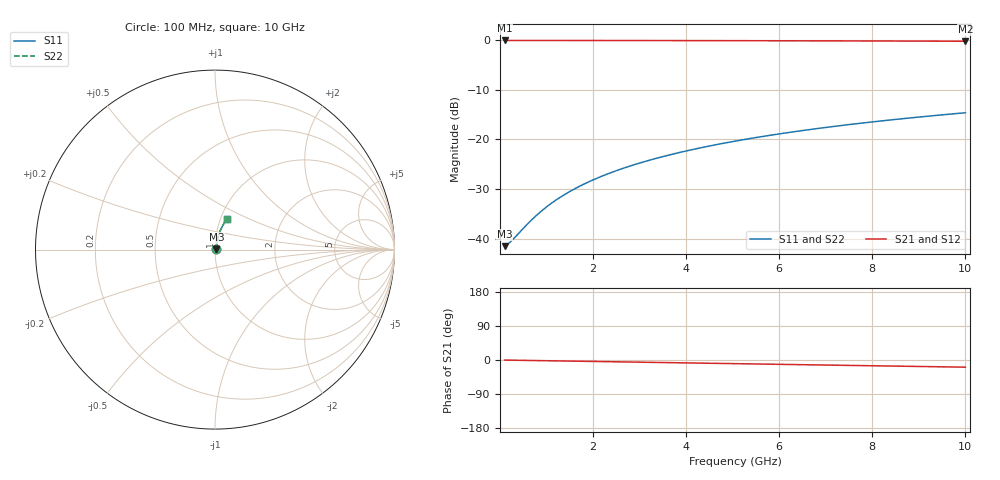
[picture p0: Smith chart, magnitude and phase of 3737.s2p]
# Hz S RI R 50.00
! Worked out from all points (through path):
!   100 points, 100 MHz to 10 GHz, reference 50 ohm
!   highest |S21| = -0.07 dB at 100 MHz (marker M1); lowest = -0.2 dB at 10 GHz (marker M2)
!   group delay of S21, straight-line fit = 5.26 ps
!   lowest |S11| = -41.5 dB at 100 MHz (marker M3), VSWR 1.02, Z = 50.8 + j0.191 ohm
!   |S11| at or under -10 dB: start of sweep to end of sweep
!   |S22| runs from -41.5 to -14.6 dB; largest |S21 - S12| = 0
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1e8  0.00817 0.00188  0.9918 -0.00331  0.9918 -0.00331  0.00817 0.00188
2e8  0.00824 0.00376  0.9917 -0.00662  0.9917 -0.00662  0.00824 0.00376
3e8  0.00831 0.00563  0.9917 -0.00993  0.9917 -0.00993  0.00831 0.00563
6e8  0.00857 0.0113  0.9914 -0.0199  0.9914 -0.0199  0.00857 0.0113
7e8  0.00867 0.0131  0.9913 -0.0232  0.9913 -0.0232  0.00867 0.0131
8e8  0.00878 0.015  0.9911 -0.0265  0.9911 -0.0265  0.00878 0.015
1e9  0.00904 0.0188  0.9908 -0.0331  0.9908 -0.0331  0.00904 0.0188
1.2e9  0.00935 0.0225  0.9905 -0.0397  0.9905 -0.0397  0.00935 0.0225
1.4e9  0.0097 0.0262  0.9901 -0.0463  0.9901 -0.0463  0.0097 0.0262
1.6e9  0.0101 0.03  0.9896 -0.0529  0.9896 -0.0529  0.0101 0.03
1.8e9  0.0105 0.0337  0.9891 -0.0595  0.9891 -0.0595  0.0105 0.0337
2.1e9  0.0113 0.0393  0.9882 -0.0693  0.9882 -0.0693  0.0113 0.0393
2.5e9  0.0125 0.0467  0.9868 -0.0825  0.9868 -0.0825  0.0125 0.0467
2.9e9  0.0139 0.054  0.9852 -0.0956  0.9852 -0.0956  0.0139 0.054
3.4e9  0.0159 0.0632  0.9829 -0.1119  0.9829 -0.1119  0.0159 0.0632
4.2e9  0.0197 0.0776  0.9784 -0.1378  0.9784 -0.1378  0.0197 0.0776
5.1e9  0.0249 0.0935  0.9724 -0.1667  0.9724 -0.1667  0.0249 0.0935
5.9e9  0.0302 0.1074  0.9661 -0.192  0.9661 -0.192  0.0302 0.1074
6.7e9  0.0363 0.1209  0.9589 -0.217  0.9589 -0.217  0.0363 0.1209
7.5e9  0.0431 0.134  0.951 -0.2417  0.951 -0.2417  0.0431 0.134
8.4e9  0.0515 0.1483  0.9411 -0.2689  0.9411 -0.2689  0.0515 0.1483
1e10  0.0683 0.1722  0.9211 -0.3159  0.9211 -0.3159  0.0683 0.1722
